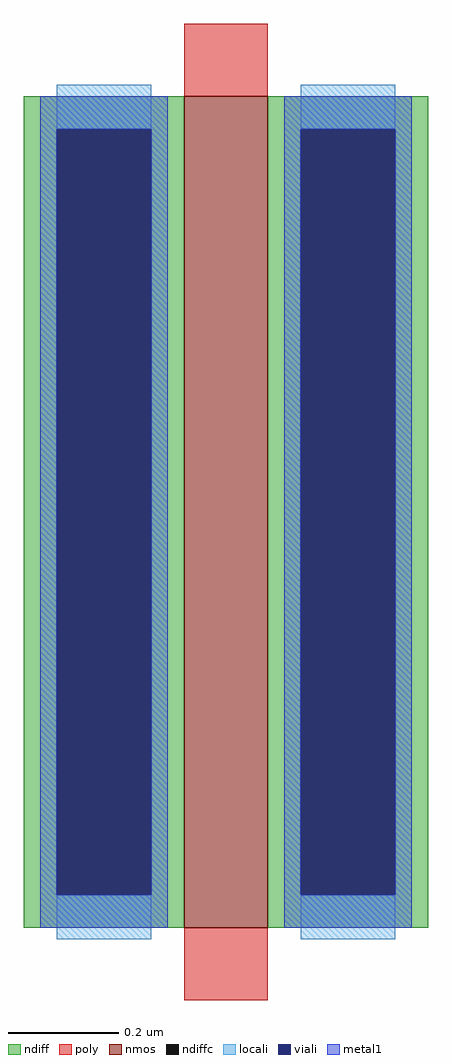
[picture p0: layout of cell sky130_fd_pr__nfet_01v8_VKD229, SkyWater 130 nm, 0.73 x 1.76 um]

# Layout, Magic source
magic
tech sky130A
magscale 1 2
<< nmos >>
rect -15 -150 15 150
<< ndiff >>
rect -73 138 -15 150
rect -73 -138 -61 138
rect -27 -138 -15 138
rect -73 -150 -15 -138
rect 15 138 73 150
rect 15 -138 27 138
rect 61 -138 73 138
rect 15 -150 73 -138
<< ndiffc >>
rect -61 -138 -27 138
rect 27 -138 61 138
<< poly >>
rect -15 150 15 176
rect -15 -176 15 -150
<< locali >>
rect -61 138 -27 154
rect -61 -154 -27 -138
rect 27 138 61 154
rect 27 -154 61 -138
<< viali >>
rect -61 -138 -27 138
rect 27 -138 61 138
<< metal1 >>
rect -67 138 -21 150
rect -67 -138 -61 138
rect -27 -138 -21 138
rect -67 -150 -21 -138
rect 21 138 67 150
rect 21 -138 27 138
rect 61 -138 67 138
rect 21 -150 67 -138
<< properties >>
string gencell sky130_fd_pr__nfet_01v8
string library sky130
string parameters w 1.5 l 0.150 m 1 nf 1 diffcov 100 polycov 100 guard 0 glc 0 grc 0 gtc 0 gbc 0 tbcov 100 rlcov 100 topc 0 botc 0 poverlap 0 doverlap 0 lmin 0.15 wmin 0.42 class mosfet compatible {sky130_fd_pr__nfet_01v8 sky130_fd_pr__nfet_01v8_lvt  sky130_fd_bs_flash__special_sonosfet_star  sky130_fd_pr__nfet_g5v0d10v5 sky130_fd_pr__nfet_05v0_nvt  sky130_fd_pr__nfet_03v3_nvt} full_metal 0 viasrc 100 viadrn 100 viagate 100 viagb 0 viagr 0 viagl 0 viagt 0
<< end >>
